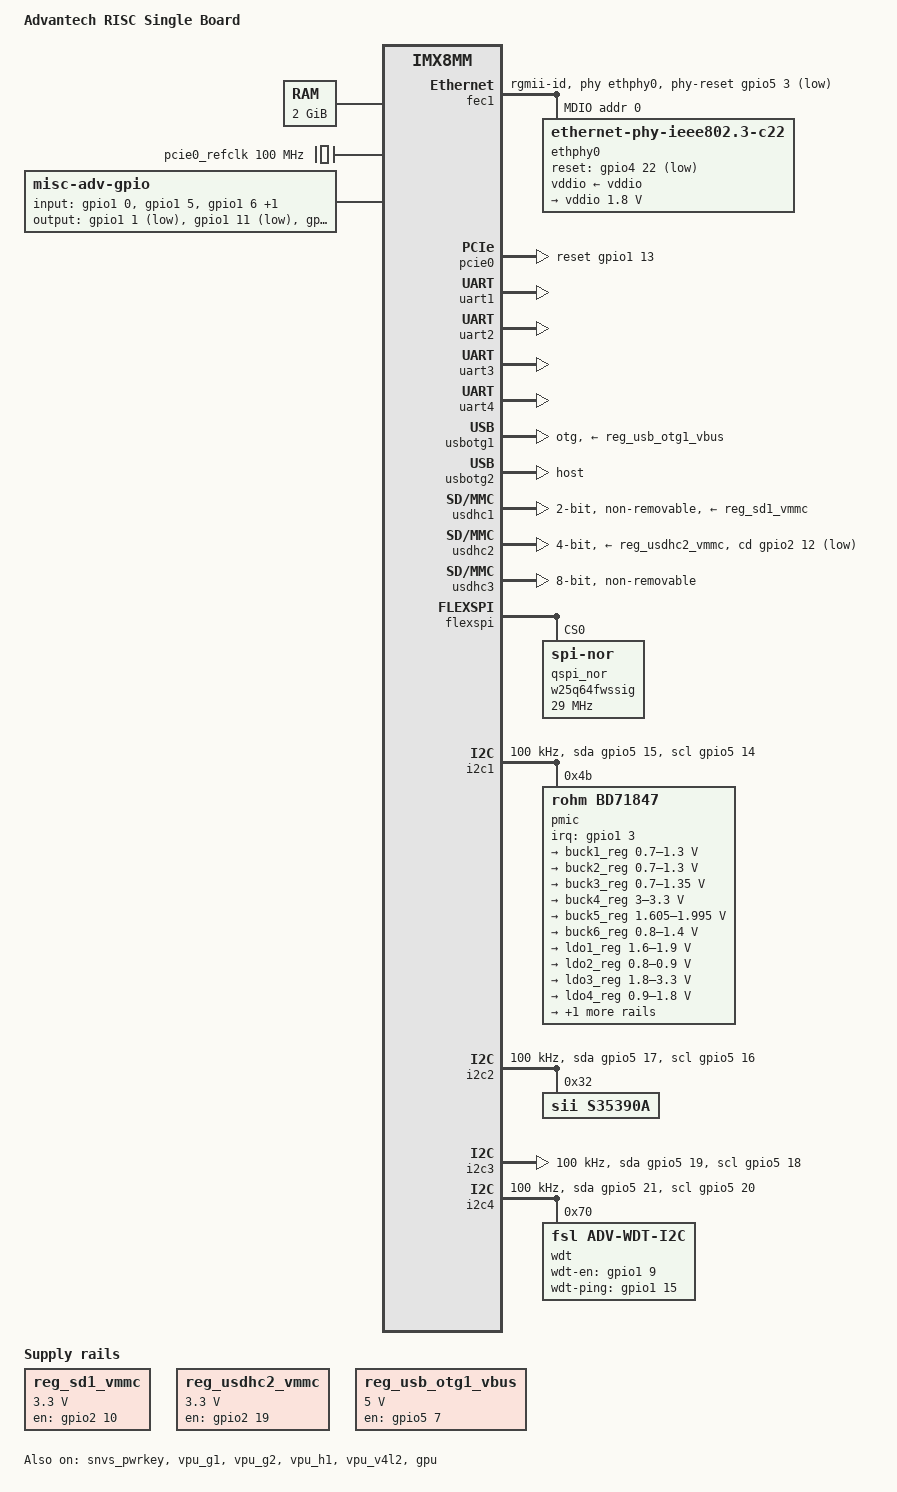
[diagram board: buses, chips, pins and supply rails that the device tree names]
// SPDX-License-Identifier: (GPL-2.0+ OR MIT)
/*
 * Copyright 2020 NXP
 */

/dts-v1/;

#include <dt-bindings/usb/pd.h>
#include "imx8mm.dtsi"

/ {
	model = "Advantech RISC Single Board";
	compatible = "fsl,imx8mm-evk", "fsl,imx8mm";

	board {
		compatible = "proc-board";
		board-type = "EBC-RS12 A1";
		board-cpu = "IMX8MM";
	};

	aliases {
		rtc0 = &s35390a;
		rtc1 = &snvs_rtc;
	};

	memory@40000000 {
		device_type = "memory";
		reg = <0x0 0x40000000 0 0x80000000>;
	};

	chosen {
		stdout-path = &uart2;
	};

	sd1_mod_reset: sd1-mod-reset {
		compatible = "gpio-reset";
		// reset-gpios = <&gpio1 8 GPIO_ACTIVE_LOW>;
		reset-delay-us = <2000>;
		reset-post-delay-ms = <40>;
		#reset-cells = <0>;
	};

	pcie0_refclk: pcie0-refclk {
		compatible = "fixed-clock";
		#clock-cells = <0>;
		clock-frequency = <100000000>;
	};

	reg_sd1_vmmc: sd1_regulator {
		compatible = "regulator-fixed";
		regulator-name = "WLAN_EN";
		regulator-min-microvolt = <3300000>;
		regulator-max-microvolt = <3300000>;
		gpio = <&gpio2 10 GPIO_ACTIVE_HIGH>;
		off-on-delay-us = <20000>;
		startup-delay-us = <100>;
		enable-active-high;
	};

	reg_usdhc2_vmmc: regulator-usdhc2 {
		compatible = "regulator-fixed";
		pinctrl-names = "default";
		pinctrl-0 = <&pinctrl_reg_usdhc2_vmmc>;
		regulator-name = "VSD_3V3";
		regulator-min-microvolt = <3300000>;
		regulator-max-microvolt = <3300000>;
		gpio = <&gpio2 19 GPIO_ACTIVE_HIGH>;
		off-on-delay-us = <20000>;
		enable-active-high;
	};

	reg_usb_otg1_vbus: regulator-vbus {
		compatible = "regulator-fixed";
		regulator-name = "usb_otg1_vbus";
		regulator-min-microvolt = <5000000>;
		regulator-max-microvolt = <5000000>;
		gpio = <&gpio5 7 GPIO_ACTIVE_HIGH>;
		enable-active-high;
	};

	misc-adv-gpio {
		compatible = "misc-adv-gpio";
		status = "okay";
		pinctrl-names = "default";

		input-gpios = <&gpio1 0 GPIO_ACTIVE_HIGH
					&gpio1 5 GPIO_ACTIVE_HIGH
					&gpio1 6 GPIO_ACTIVE_HIGH
					&gpio1 7 GPIO_ACTIVE_HIGH>;

		output-gpios = <&gpio1 1 GPIO_ACTIVE_LOW
					&gpio1 11 GPIO_ACTIVE_LOW
					&gpio1 12 GPIO_ACTIVE_LOW
					&gpio1 14 GPIO_ACTIVE_LOW>;
	};
};

&A53_0 {
	cpu-supply = <&buck2_reg>;
};

&A53_1 {
	cpu-supply = <&buck2_reg>;
};

&A53_2 {
	cpu-supply = <&buck2_reg>;
};

&A53_3 {
	cpu-supply = <&buck2_reg>;
};


&fec1 {
	pinctrl-names = "default";
	pinctrl-0 = <&pinctrl_fec1>;
	phy-mode = "rgmii-id";
	phy-handle = <&ethphy0>;
	fsl,magic-packet;
	phy-reset-gpios = <&gpio5 3 GPIO_ACTIVE_LOW>;
	phy-reset-post-delay = <75>;
	phy-reset-duration = <50>;
	adv,disable-mii-clk;
	status = "okay";

	mdio {
		#address-cells = <1>;
		#size-cells = <0>;

		ethphy0: ethernet-phy@0 {
			compatible = "ethernet-phy-ieee802.3-c22";
			reg = <0>;
			reset-gpios = <&gpio4 22 GPIO_ACTIVE_LOW>;
			realtek,aldps-enable;
			realtek,clkout-disable;
			qca,disable-smarteee;
			vddio-supply = <&vddio>;

			vddio: vddio-regulator {
				regulator-min-microvolt = <1800000>;
				regulator-max-microvolt = <1800000>;
			};
		};
	};
};

&pcie0 {
	pinctrl-names = "default";
	pinctrl-0 = <&pinctrl_pcie0>;
	reset-gpio = <&gpio1 13 GPIO_ACTIVE_HIGH>;
	disable-gpio = <&gpio1 8 GPIO_ACTIVE_LOW>; //W_DISABLE1
	m2-pwr-en = <&gpio4 25 GPIO_ACTIVE_HIGH>;
	clocks = <&clk IMX8MM_CLK_PCIE1_ROOT>,
		 <&clk IMX8MM_CLK_PCIE1_AUX>,
		 <&clk IMX8MM_CLK_PCIE1_PHY>,
		 <&pcie0_refclk>;
	clock-names = "pcie", "pcie_aux", "pcie_phy", "pcie_bus";
	assigned-clocks = <&clk IMX8MM_CLK_PCIE1_AUX>,
			  <&clk IMX8MM_CLK_PCIE1_PHY>,
			  <&clk IMX8MM_CLK_PCIE1_CTRL>;
	assigned-clock-rates = <10000000>, <100000000>, <250000000>;
	assigned-clock-parents = <&clk IMX8MM_SYS_PLL2_50M>,
				 <&clk IMX8MM_SYS_PLL2_100M>,
				 <&clk IMX8MM_SYS_PLL2_250M>;
	ext_osc = <1>;
	status = "okay";
};

&snvs_pwrkey {
	status = "okay";
};


&uart1 { /* BT */
	pinctrl-names = "default";
	pinctrl-0 = <&pinctrl_uart1>;
	assigned-clocks = <&clk IMX8MM_CLK_UART1>;
	assigned-clock-parents = <&clk IMX8MM_SYS_PLL1_80M>;
	fsl,uart-has-rtscts;
	rs485-rts-active-low;
	status = "okay";
};

&uart2 { /* console */
	pinctrl-names = "default";
	pinctrl-0 = <&pinctrl_uart2>;
	status = "okay";
};

&uart3 {
	pinctrl-names = "default";
	pinctrl-0 = <&pinctrl_uart3>;
	// assigned-clocks = <&clk IMX8MM_CLK_UART3>;
	// assigned-clock-parents = <&clk IMX8MM_SYS_PLL1_80M>;
	fsl,uart-has-rtscts;
	rs485-rts-active-low;
	status = "okay";
};

&uart4 { /* M4 debug */
	pinctrl-names = "default";
	pinctrl-0 = <&pinctrl_uart4>;
	en-gpio = <&gpio5 6 GPIO_ACTIVE_HIGH>;
	fsl,uart-has-rtscts;
	rs485-rts-active-low;
	status = "okay";
};

&usbotg1 {
	pinctrl-names = "default";
    pinctrl-0 = <&pinctrl_usbotg>;
	dr_mode = "otg";
	extcon = <0>;
     vbus-supply = <&reg_usb_otg1_vbus>;
	samsung,picophy-pre-emp-curr-control = <3>;
	samsung,picophy-dc-vol-level-adjust = <7>;
	status = "okay";
};

&usbotg2 {
	dr_mode = "host";
	status = "okay";
};

&usdhc1 { /* wifi bt */
	pinctrl-names = "default", "state_100mhz", "state_200mhz";
	pinctrl-0 = <&pinctrl_usdhc1>, <&pinctrl_usdhc1_gpio>;
	pinctrl-1 = <&pinctrl_usdhc1_100mhz>, <&pinctrl_usdhc1_gpio>;
	pinctrl-2 = <&pinctrl_usdhc1_200mhz>, <&pinctrl_usdhc1_gpio>;
	bus-width = <2>;
	vmmc-supply = <&reg_sd1_vmmc>;
	resets = <&sd1_mod_reset>;
	pm-ignore-notify;
	keep-power-in-suspend;
	non-removable;
	status = "okay";
};

&usdhc2 {
	assigned-clocks = <&clk IMX8MM_CLK_USDHC2>;
	assigned-clock-rates = <200000000>;
	pinctrl-names = "default", "state_100mhz", "state_200mhz";
	pinctrl-0 = <&pinctrl_usdhc2>, <&pinctrl_usdhc2_gpio>;
	pinctrl-1 = <&pinctrl_usdhc2_100mhz>, <&pinctrl_usdhc2_gpio>;
	pinctrl-2 = <&pinctrl_usdhc2_200mhz>, <&pinctrl_usdhc2_gpio>;
	cd-gpios = <&gpio2 12 GPIO_ACTIVE_LOW>;
	bus-width = <4>;
	vmmc-supply = <&reg_usdhc2_vmmc>;
	status = "okay";
};

&usdhc3 {
	assigned-clocks = <&clk IMX8MM_CLK_USDHC3_ROOT>;
	assigned-clock-rates = <400000000>;
	pinctrl-names = "default", "state_100mhz", "state_200mhz";
	pinctrl-0 = <&pinctrl_usdhc3>;
	pinctrl-1 = <&pinctrl_usdhc3_100mhz>;
	pinctrl-2 = <&pinctrl_usdhc3_200mhz>;
	bus-width = <8>;
	non-removable;
	status = "okay";
};

&wdog1 {
	pinctrl-names = "default";
	pinctrl-0 = <&pinctrl_wdog>;
	fsl,ext-reset-output;
	status = "disabled";
};

&flexspi {
	pinctrl-names = "default";
	pinctrl-0 = <&pinctrl_flexspi>;
	status = "okay";

	qspi_nor: w25q64fwssig@0 {
                reg = <0>;
                #address-cells = <1>;
                #size-cells = <1>;
                compatible = "jedec,spi-nor", "winbond,w25q64";
                spi-max-frequency = <29000000>;
                spi-nor,quad-read = <4>;
        };
};

&i2c1 {
	clock-frequency = <100000>;
	pinctrl-names = "default", "gpio";
	pinctrl-0 = <&pinctrl_i2c1>;
	pinctrl-1 = <&pinctrl_i2c1_gpio>;
	scl-gpios = <&gpio5 14 GPIO_ACTIVE_HIGH>;
	sda-gpios = <&gpio5 15 GPIO_ACTIVE_HIGH>;
	status = "okay";

	pmic@4b {
		compatible = "rohm,bd71847";
		reg = <0x4b>;
		pinctrl-0 = <&pinctrl_pmic>;
		interrupt-parent = <&gpio1>;
		interrupts = <3 GPIO_ACTIVE_LOW>;
		rohm,reset-snvs-powered;

		regulators {
			buck1_reg: BUCK1 {
				regulator-name = "BUCK1";
				regulator-min-microvolt = <700000>;
				regulator-max-microvolt = <1300000>;
				regulator-boot-on;
				regulator-always-on;
				regulator-ramp-delay = <1250>;
			};

			buck2_reg: BUCK2 {
				regulator-name = "BUCK2";
				regulator-min-microvolt = <700000>;
				regulator-max-microvolt = <1300000>;
				regulator-boot-on;
				regulator-always-on;
				regulator-ramp-delay = <1250>;
				rohm,dvs-run-voltage = <1000000>;
				rohm,dvs-idle-voltage = <900000>;
			};

			buck3_reg: BUCK3 {
				// BUCK5 in datasheet
				regulator-name = "BUCK3";
				regulator-min-microvolt = <700000>;
				regulator-max-microvolt = <1350000>;
				regulator-boot-on;
				regulator-always-on;
			};

			buck4_reg: BUCK4 {
				// BUCK6 in datasheet
				regulator-name = "BUCK4";
				regulator-min-microvolt = <3000000>;
				regulator-max-microvolt = <3300000>;
				regulator-boot-on;
				regulator-always-on;
			};

			buck5_reg: BUCK5 {
				// BUCK7 in datasheet
				regulator-name = "BUCK5";
				regulator-min-microvolt = <1605000>;
				regulator-max-microvolt = <1995000>;
				regulator-boot-on;
				regulator-always-on;
			};

			buck6_reg: BUCK6 {
				// BUCK8 in datasheet
				regulator-name = "BUCK6";
				regulator-min-microvolt = <800000>;
				regulator-max-microvolt = <1400000>;
				regulator-boot-on;
				regulator-always-on;
			};

			ldo1_reg: LDO1 {
				regulator-name = "LDO1";
				regulator-min-microvolt = <1600000>;
				regulator-max-microvolt = <1900000>;
				regulator-boot-on;
				regulator-always-on;
			};

			ldo2_reg: LDO2 {
				regulator-name = "LDO2";
				regulator-min-microvolt = <800000>;
				regulator-max-microvolt = <900000>;
				regulator-boot-on;
				regulator-always-on;
			};

			ldo3_reg: LDO3 {
				regulator-name = "LDO3";
				regulator-min-microvolt = <1800000>;
				regulator-max-microvolt = <3300000>;
				regulator-boot-on;
				regulator-always-on;
			};

			ldo4_reg: LDO4 {
				regulator-name = "LDO4";
				regulator-min-microvolt = <900000>;
				regulator-max-microvolt = <1800000>;
				regulator-boot-on;
				regulator-always-on;
			};

			ldo6_reg: LDO6 {
				regulator-name = "LDO6";
				regulator-min-microvolt = <900000>;
				regulator-max-microvolt = <1800000>;
				regulator-boot-on;
				regulator-always-on;
			};
		};
	};
};

&i2c2 {
	clock-frequency = <100000>;
	pinctrl-names = "default", "gpio";
	pinctrl-0 = <&pinctrl_i2c2>;
	pinctrl-1 = <&pinctrl_i2c2_gpio>;
	scl-gpios = <&gpio5 16 GPIO_ACTIVE_HIGH>;
	sda-gpios = <&gpio5 17 GPIO_ACTIVE_HIGH>;
	status = "okay";

	s35390a: s35390a@32 {
		compatible = "sii,s35390a";
		reg = <0x32>;
		status = "okay";
	};

	// st33htpi: st33htpi@2e{
	// 	compatible = "st,st33htpm-i2c";
	// 	reg= <0x2e>;
	// 	status = "okay";
	// };
};

&i2c3 {
	clock-frequency = <100000>;
	pinctrl-names = "default", "gpio";
	pinctrl-0 = <&pinctrl_i2c3>;
	pinctrl-1 = <&pinctrl_i2c3_gpio>;
	scl-gpios = <&gpio5 18 GPIO_ACTIVE_HIGH>;
	sda-gpios = <&gpio5 19 GPIO_ACTIVE_HIGH>;
	status = "okay";

	// wdt@71 {
	// 	compatible = "fsl,adv-wdt-i2c";
	// 	pinctrl-names = "default";
	// 	pinctrl-0 = <&pinctrl_wdt_en_1 &pinctrl_wdt_ping_1>;
	// 	fix-first-comm-issue;
	// 	status = "okay";
	// 	wdt-en = <&gpio1 9 0>;
	// 	wdt-ping = <&gpio1 15 0>;
	// 	reg = <0x71>;
	// };
};

&i2c4 {
	clock-frequency = <100000>;
	pinctrl-names = "default", "gpio";
	pinctrl-0 = <&pinctrl_i2c4>;
	pinctrl-1 = <&pinctrl_i2c4_gpio>;
	scl-gpios = <&gpio5 20 GPIO_ACTIVE_HIGH>;
	sda-gpios = <&gpio5 21 GPIO_ACTIVE_HIGH>;
	status = "okay";

	wdt@70 {
		compatible = "fsl,adv-wdt-i2c";
		pinctrl-names = "default";
		pinctrl-0 = <&pinctrl_wdt_en_1 &pinctrl_wdt_ping_1>;
		fix-first-comm-issue;
		status = "okay";
		wdt-en = <&gpio1 9 0>;
		wdt-ping = <&gpio1 15 0>;
		reg = <0x70>;
	};
};

&ddrc {
	operating-points-v2 = <&ddrc_opp_table>;

	ddrc_opp_table: opp-table {
		compatible = "operating-points-v2";

		opp-25M {
			opp-hz = /bits/ 64 <25000000>;
		};

		opp-100M {
			opp-hz = /bits/ 64 <100000000>;
		};

		opp-750M {
			opp-hz = /bits/ 64 <750000000>;
		};
	};
};

&vpu_g1 {
	status = "okay";
};

&vpu_g2 {
	status = "okay";
};

&vpu_h1 {
	status = "okay";
};

&vpu_v4l2 {
	status = "okay";
};



&gpu {
	status = "okay";
};

&iomuxc {
        pinctrl_hog: hoggrp {
                fsl,pins = <
			MX8MM_IOMUXC_UART1_RXD_GPIO5_IO22		0x116	/* GPIO1 */
			MX8MM_IOMUXC_UART1_TXD_GPIO5_IO23		0x116	/* GPIO2 */
			MX8MM_IOMUXC_UART2_RXD_GPIO5_IO24		0x116	/* GPIO3 */
			MX8MM_IOMUXC_UART2_TXD_GPIO5_IO25		0x116	/* GPIO4 */
			MX8MM_IOMUXC_SAI5_RXD0_GPIO3_IO21		0x116	/* GPIO5 */
			MX8MM_IOMUXC_ECSPI2_SS0_GPIO5_IO13		0x116	/* GPIO6 */
			MX8MM_IOMUXC_ECSPI2_SCLK_GPIO5_IO10		0x116	/* GPIO7 */
			MX8MM_IOMUXC_ECSPI2_MOSI_GPIO5_IO11		0x116	/* GPIO9 */
			MX8MM_IOMUXC_SAI3_RXFS_GPIO4_IO28		0x116	/* GPIO10 */
			MX8MM_IOMUXC_SAI1_RXC_GPIO4_IO1			0x116	/* GPIO12 */
                >;
        };

	pinctrl_fec1: fec1grp {
		fsl,pins = <
			MX8MM_IOMUXC_ENET_MDC_ENET1_MDC			0x3
			MX8MM_IOMUXC_ENET_MDIO_ENET1_MDIO		0x3
			MX8MM_IOMUXC_ENET_TD3_ENET1_RGMII_TD3		0x1f
			MX8MM_IOMUXC_ENET_TD2_ENET1_RGMII_TD2		0x1f
			MX8MM_IOMUXC_ENET_TD1_ENET1_RGMII_TD1		0x1f
			MX8MM_IOMUXC_ENET_TD0_ENET1_RGMII_TD0		0x1f
			MX8MM_IOMUXC_ENET_RD3_ENET1_RGMII_RD3		0x91
			MX8MM_IOMUXC_ENET_RD2_ENET1_RGMII_RD2		0x91
			MX8MM_IOMUXC_ENET_RD1_ENET1_RGMII_RD1		0x91
			MX8MM_IOMUXC_ENET_RD0_ENET1_RGMII_RD0		0x91
			MX8MM_IOMUXC_ENET_TXC_ENET1_RGMII_TXC		0x1f
			MX8MM_IOMUXC_ENET_RXC_ENET1_RGMII_RXC		0x91
			MX8MM_IOMUXC_ENET_RX_CTL_ENET1_RGMII_RX_CTL	0x91
			MX8MM_IOMUXC_ENET_TX_CTL_ENET1_RGMII_TX_CTL	0x1f
			MX8MM_IOMUXC_SPDIF_TX_GPIO5_IO3		0x159
		>;
	};

	pinctrl_flexspi: flexspigrp {
		fsl,pins = <
			MX8MM_IOMUXC_NAND_ALE_QSPI_A_SCLK               0x1c2
			MX8MM_IOMUXC_NAND_CE0_B_QSPI_A_SS0_B            0x82
			MX8MM_IOMUXC_NAND_DATA00_QSPI_A_DATA0           0x82
			MX8MM_IOMUXC_NAND_DATA01_QSPI_A_DATA1           0x82
			MX8MM_IOMUXC_NAND_DATA02_QSPI_A_DATA2           0x82
			MX8MM_IOMUXC_NAND_DATA03_QSPI_A_DATA3           0x82
		>;
	};

	pinctrl_usbotg: usbotggrp {
		fsl,pins = <
			MX8MM_IOMUXC_ECSPI1_MOSI_GPIO5_IO7	0x19	/* USB1_OTG_EN */
		>;
	};

	pinctrl_i2c1: i2c1grp {
		fsl,pins = <
			MX8MM_IOMUXC_I2C1_SCL_I2C1_SCL			0x400001c3
			MX8MM_IOMUXC_I2C1_SDA_I2C1_SDA			0x400001c3
		>;
	};

	pinctrl_i2c1_gpio: i2c1_gpio_grp {
		fsl,pins = <
			MX8MM_IOMUXC_I2C1_SCL_GPIO5_IO14		0x19
			MX8MM_IOMUXC_I2C1_SDA_GPIO5_IO15		0x19
		>;
	};

	pinctrl_i2c2: i2c2grp {
		fsl,pins = <
			MX8MM_IOMUXC_I2C2_SCL_I2C2_SCL			0x400001c3
			MX8MM_IOMUXC_I2C2_SDA_I2C2_SDA			0x400001c3
		>;
	};

	pinctrl_i2c2_gpio: i2c2_gpio_grp {
		fsl,pins = <
			MX8MM_IOMUXC_I2C2_SCL_GPIO5_IO16		0x19
			MX8MM_IOMUXC_I2C2_SDA_GPIO5_IO17		0x19
		>;
	};

	pinctrl_i2c3: i2c3grp {
		fsl,pins = <
			MX8MM_IOMUXC_I2C3_SCL_I2C3_SCL			0x400001c3
			MX8MM_IOMUXC_I2C3_SDA_I2C3_SDA			0x400001c3
		>;
	};

	pinctrl_i2c3_gpio: i2c3_gpio_grp {
		fsl,pins = <
			MX8MM_IOMUXC_I2C3_SCL_GPIO5_IO18		0x19
			MX8MM_IOMUXC_I2C3_SDA_GPIO5_IO19		0x19
		>;
	};

	pinctrl_i2c4: i2c4grp {
		fsl,pins = <
			MX8MM_IOMUXC_I2C4_SCL_I2C4_SCL			0x400001c3	/* I2C_GP_CK */
			MX8MM_IOMUXC_I2C4_SDA_I2C4_SDA			0x400001c3	/* I2C_GP_DAT */
		>;
	};

	pinctrl_i2c4_gpio: i2c4_gpio_grp {
		fsl,pins = <
			MX8MM_IOMUXC_I2C4_SCL_GPIO5_IO20		0x19
			MX8MM_IOMUXC_I2C4_SDA_GPIO5_IO21		0x19
		>;
	};

	pinctrl_pcie0: pcie0grp {
		fsl,pins = <
			MX8MM_IOMUXC_GPIO1_IO13_GPIO1_IO13		0x41	/* PCIE_RST */
			MX8MM_IOMUXC_SAI2_TXC_GPIO4_IO25		0x41    /* M2_PWR_EN */
			MX8MM_IOMUXC_GPIO1_IO08_GPIO1_IO8		0x41	/* M.2 W DIS1 */
		>;
	};

	pinctrl_pmic: pmicirqgrp {
		fsl,pins = <
			MX8MM_IOMUXC_GPIO1_IO03_GPIO1_IO3		0x141
		>;
	};

	pinctrl_reg_usdhc2_vmmc: regusdhc2vmmcgrp {
		fsl,pins = <
			MX8MM_IOMUXC_SD2_RESET_B_GPIO2_IO19	0x41	/* SD2_PWR_EN_1V8 */
		>;
	};

	pinctrl_uart1: uart1grp {
		fsl,pins = <
			MX8MM_IOMUXC_SAI2_RXFS_UART1_DCE_TX     0x140
			MX8MM_IOMUXC_SAI2_RXC_UART1_DCE_RX     0x140
			MX8MM_IOMUXC_SAI2_RXD0_UART1_DCE_RTS_B  0x140
			MX8MM_IOMUXC_SAI2_TXFS_UART1_DCE_CTS_B  0x140
		>;
	};

	pinctrl_uart2: uart2grp {
		fsl,pins = <
			MX8MM_IOMUXC_SAI3_TXC_UART2_DCE_TX		0x140
			MX8MM_IOMUXC_SAI3_TXFS_UART2_DCE_RX		0x140
		>;
	};

	pinctrl_uart3: uart3grp {
		fsl,pins = <
			MX8MM_IOMUXC_UART3_RXD_UART3_DCE_RX		0x140
			MX8MM_IOMUXC_UART3_TXD_UART3_DCE_TX		0x140
			MX8MM_IOMUXC_ECSPI1_SS0_UART3_DCE_RTS_B		0x140
			MX8MM_IOMUXC_ECSPI1_MISO_UART3_DCE_CTS_B	0x140
		>;
	};

	pinctrl_uart4: uart4grp {
		fsl,pins = <
			MX8MM_IOMUXC_UART4_RXD_UART4_DCE_RX		0x140
			MX8MM_IOMUXC_UART4_TXD_UART4_DCE_TX		0x140
			MX8MM_IOMUXC_ECSPI2_MISO_UART4_DCE_CTS_B		0x140
			MX8MM_IOMUXC_ECSPI2_MISO_UART4_DTE_RTS_B		0x140
		>;
	};

	pinctrl_usdhc1_gpio: usdhc1grpgpio {
		fsl,pins = <
			MX8MM_IOMUXC_SD1_RESET_B_GPIO2_IO10	0x41	/* WL_REG_ON */
		>;
	};

	pinctrl_usdhc1: usdhc1grp {
		fsl,pins = <
			MX8MM_IOMUXC_SD1_CLK_USDHC1_CLK		0x190
			MX8MM_IOMUXC_SD1_CMD_USDHC1_CMD		0x1d0
			MX8MM_IOMUXC_SD1_DATA0_USDHC1_DATA0	0x1d0
			MX8MM_IOMUXC_SD1_DATA1_USDHC1_DATA1	0x1d0
			MX8MM_IOMUXC_SD1_DATA2_USDHC1_DATA2	0x1d0
			MX8MM_IOMUXC_SD1_DATA3_USDHC1_DATA3	0x1d0
		>;
	};

	pinctrl_usdhc1_100mhz: usdhc1grp100mhz {
		fsl,pins = <
			MX8MM_IOMUXC_SD1_CLK_USDHC1_CLK		0x194
			MX8MM_IOMUXC_SD1_CMD_USDHC1_CMD		0x1d4
			MX8MM_IOMUXC_SD1_DATA0_USDHC1_DATA0	0x1d4
			MX8MM_IOMUXC_SD1_DATA1_USDHC1_DATA1	0x1d4
			MX8MM_IOMUXC_SD1_DATA2_USDHC1_DATA2	0x1d4
			MX8MM_IOMUXC_SD1_DATA3_USDHC1_DATA3	0x1d4
		>;
	};

	pinctrl_usdhc1_200mhz: usdhc1grp200mhz {
		fsl,pins = <
			MX8MM_IOMUXC_SD1_CLK_USDHC1_CLK		0x196
			MX8MM_IOMUXC_SD1_CMD_USDHC1_CMD		0x1d6
			MX8MM_IOMUXC_SD1_DATA0_USDHC1_DATA0	0x1d6
			MX8MM_IOMUXC_SD1_DATA1_USDHC1_DATA1	0x1d6
			MX8MM_IOMUXC_SD1_DATA2_USDHC1_DATA2	0x1d6
			MX8MM_IOMUXC_SD1_DATA3_USDHC1_DATA3	0x1d6
		>;
	};

	pinctrl_usdhc2_gpio: usdhc2grpgpiogrp {
		fsl,pins = <
			MX8MM_IOMUXC_SD2_CD_B_GPIO2_IO12	0x159	/* SD2_CD */
			MX8MM_IOMUXC_SD2_WP_GPIO2_IO20		0x159	/* SD2_WP */
		>;
	};

	pinctrl_usdhc2: usdhc2grp {
		fsl,pins = <
			MX8MM_IOMUXC_SD2_CLK_USDHC2_CLK		0x190
			MX8MM_IOMUXC_SD2_CMD_USDHC2_CMD		0x1d0
			MX8MM_IOMUXC_SD2_DATA0_USDHC2_DATA0	0x1d0
			MX8MM_IOMUXC_SD2_DATA1_USDHC2_DATA1	0x1d0
			MX8MM_IOMUXC_SD2_DATA2_USDHC2_DATA2	0x1d0
			MX8MM_IOMUXC_SD2_DATA3_USDHC2_DATA3	0x1d0
			MX8MM_IOMUXC_GPIO1_IO04_USDHC2_VSELECT	0x1d0
		>;
	};

	pinctrl_usdhc2_100mhz: usdhc2-100mhzgrp {
		fsl,pins = <
			MX8MM_IOMUXC_SD2_CLK_USDHC2_CLK		0x194
			MX8MM_IOMUXC_SD2_CMD_USDHC2_CMD		0x1d4
			MX8MM_IOMUXC_SD2_DATA0_USDHC2_DATA0	0x1d4
			MX8MM_IOMUXC_SD2_DATA1_USDHC2_DATA1	0x1d4
			MX8MM_IOMUXC_SD2_DATA2_USDHC2_DATA2	0x1d4
			MX8MM_IOMUXC_SD2_DATA3_USDHC2_DATA3	0x1d4
			MX8MM_IOMUXC_GPIO1_IO04_USDHC2_VSELECT	0x1d0
		>;
	};

	pinctrl_usdhc2_200mhz: usdhc2-200mhzgrp {
		fsl,pins = <
			MX8MM_IOMUXC_SD2_CLK_USDHC2_CLK		0x196
			MX8MM_IOMUXC_SD2_CMD_USDHC2_CMD		0x1d6
			MX8MM_IOMUXC_SD2_DATA0_USDHC2_DATA0	0x1d6
			MX8MM_IOMUXC_SD2_DATA1_USDHC2_DATA1	0x1d6
			MX8MM_IOMUXC_SD2_DATA2_USDHC2_DATA2	0x1d6
			MX8MM_IOMUXC_SD2_DATA3_USDHC2_DATA3	0x1d6
			MX8MM_IOMUXC_GPIO1_IO04_USDHC2_VSELECT	0x1d0
		>;
	};
	pinctrl_usdhc3: usdhc3grp {
		fsl,pins = <
			MX8MM_IOMUXC_NAND_WE_B_USDHC3_CLK               0x190
			MX8MM_IOMUXC_NAND_WP_B_USDHC3_CMD               0x1d0
			MX8MM_IOMUXC_NAND_DATA04_USDHC3_DATA0           0x1d0
			MX8MM_IOMUXC_NAND_DATA05_USDHC3_DATA1           0x1d0
			MX8MM_IOMUXC_NAND_DATA06_USDHC3_DATA2           0x1d0
			MX8MM_IOMUXC_NAND_DATA06_USDHC3_DATA2           0x1d0
			MX8MM_IOMUXC_NAND_DATA07_USDHC3_DATA3           0x1d0
			MX8MM_IOMUXC_NAND_RE_B_USDHC3_DATA4             0x1d0
			MX8MM_IOMUXC_NAND_CE2_B_USDHC3_DATA5            0x1d0
			MX8MM_IOMUXC_NAND_CE3_B_USDHC3_DATA6            0x1d0
			MX8MM_IOMUXC_NAND_CLE_USDHC3_DATA7              0x1d0
			MX8MM_IOMUXC_NAND_CE1_B_USDHC3_STROBE           0x190
		>;
	};

	pinctrl_usdhc3_100mhz: usdhc3-100mhzgrp {
		fsl,pins = <
			MX8MM_IOMUXC_NAND_WE_B_USDHC3_CLK               0x194
			MX8MM_IOMUXC_NAND_WP_B_USDHC3_CMD               0x1d4
			MX8MM_IOMUXC_NAND_DATA04_USDHC3_DATA0           0x1d4
			MX8MM_IOMUXC_NAND_DATA05_USDHC3_DATA1           0x1d4
			MX8MM_IOMUXC_NAND_DATA06_USDHC3_DATA2           0x1d4
			MX8MM_IOMUXC_NAND_DATA07_USDHC3_DATA3           0x1d4
			MX8MM_IOMUXC_NAND_RE_B_USDHC3_DATA4             0x1d4
			MX8MM_IOMUXC_NAND_CE2_B_USDHC3_DATA5            0x1d4
			MX8MM_IOMUXC_NAND_CE3_B_USDHC3_DATA6            0x1d4
			MX8MM_IOMUXC_NAND_CLE_USDHC3_DATA7              0x1d4
			MX8MM_IOMUXC_NAND_CE1_B_USDHC3_STROBE           0x194
		>;
	};

	pinctrl_usdhc3_200mhz: usdhc3-200mhzgrp {
		fsl,pins = <
			MX8MM_IOMUXC_NAND_WE_B_USDHC3_CLK               0x196
			MX8MM_IOMUXC_NAND_WP_B_USDHC3_CMD               0x1d6
			MX8MM_IOMUXC_NAND_DATA04_USDHC3_DATA0           0x1d6
			MX8MM_IOMUXC_NAND_DATA05_USDHC3_DATA1           0x1d6
			MX8MM_IOMUXC_NAND_DATA06_USDHC3_DATA2           0x1d6
			MX8MM_IOMUXC_NAND_DATA07_USDHC3_DATA3           0x1d6
			MX8MM_IOMUXC_NAND_RE_B_USDHC3_DATA4             0x1d6
			MX8MM_IOMUXC_NAND_CE2_B_USDHC3_DATA5            0x1d6
			MX8MM_IOMUXC_NAND_CE3_B_USDHC3_DATA6            0x1d6
			MX8MM_IOMUXC_NAND_CLE_USDHC3_DATA7              0x1d6
			MX8MM_IOMUXC_NAND_CE1_B_USDHC3_STROBE           0x196
		>;
	};

	pinctrl_wdt_en_1: wdt_engrp-1 {
		fsl,pins = <
			MX8MM_IOMUXC_GPIO1_IO09_GPIO1_IO9		0x19    /* WDT_EN */
		>;
	};

	pinctrl_wdt_ping_1: wdt_pinggrp-1 {
		fsl,pins = <
			MX8MM_IOMUXC_GPIO1_IO15_GPIO1_IO15		0x19    /* WDOG_TRIG */
		>;
	};

	pinctrl_wdog: wdoggrp {
		fsl,pins = <
			MX8MM_IOMUXC_GPIO1_IO02_WDOG1_WDOG_B	0x166
		>;
	};
};
